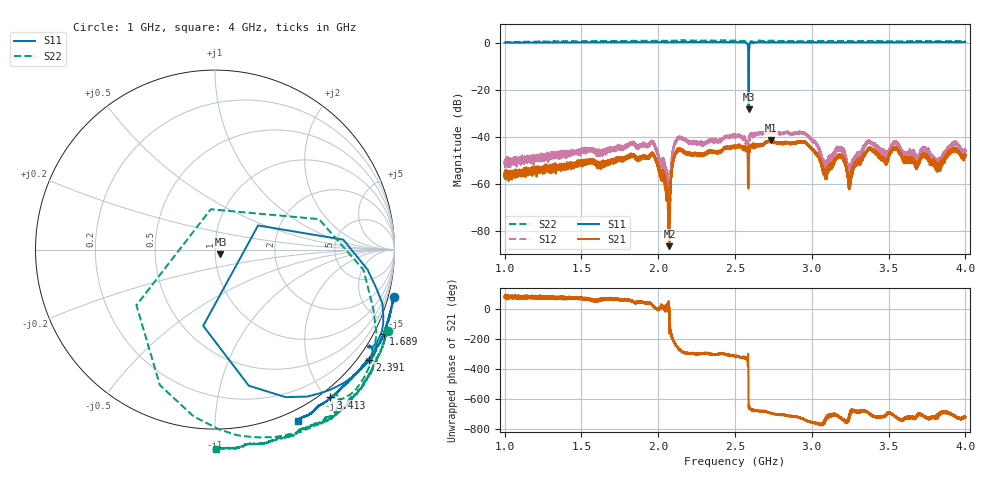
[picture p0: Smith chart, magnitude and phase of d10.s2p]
!Agilent Technologies,N5230C,SG49000117,A.08.50.07
!Agilent N5230C: A.08.50.07
!Date: Monday, May 20, 2024 21:07:27
!Correction: S11(Full 2 Port(1,2))
!S21(Full 2 Port(1,2))
!S12(Full 2 Port(1,2))
!S22(Full 2 Port(1,2))
!S2P File: Measurements: S11, S21, S12, S22:
# Hz S  MA  R 50
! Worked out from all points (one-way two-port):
!   20001 points, 1 GHz to 4 GHz, reference 50 ohm
!   highest |S21| = -41.46 dB at 2.734 GHz (marker M1); lowest = -86.5 dB at 2.073 GHz (marker M2)
!   lowest |S11| = -28.2 dB at 2.588 GHz (marker M3), VSWR 1.08, Z = 53 - j2.63 ohm
!   |S11| at or under -10 dB: 2.587652 GHz to 2.589376 GHz (1.723 MHz wide, 0.0666 % of centre)
!   |S22| runs from -13.4 to 1.2 dB; largest |S21 - S12| = 0.0077
!   S11 on the Smith chart (normalised r, x): 1 GHz: -0.85, -7.52; 1.689 GHz: -0.47, -4.18; 2.391 GHz: -0.29, -3.10; 3.413 GHz: -0.11, -2.04; 4 GHz: -0.10, -1.59
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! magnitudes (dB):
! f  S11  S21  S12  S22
! 1 GHz  0.3  -56.0  -50.5  0.5
! 1.5 GHz  0.4  -50.6  -46.7  0.8
! 1.689 GHz  0.4  -50.6  -45.4  1.0
! 1.96 GHz  0.4  -47.5  -41.9  1.0
! 2 GHz  0.4  -51.6  -47.5  1.0
! 2.073 GHz  0.4  -86.5  -61.5  1.1
! 2.099 GHz  0.4  -49.7  -45.3  1.1
! 2.128 GHz  0.5  -45.3  -41.1  1.1
! 2.391 GHz  0.5  -46.7  -41.9  1.1
! 2.5 GHz  0.4  -44.1  -39.3  1.1
! 2.588 GHz  -28.2  -46.7  -46.4  -11.5
! 2.734 GHz  0.4  -41.5  -37.5  1.0
! 3 GHz  0.4  -45.1  -40.7  0.9
! 3.086 GHz  0.4  -56.0  -53.1  1.0
! 3.195 GHz  0.4  -48.5  -46.2  0.9
! 3.245 GHz  0.4  -56.8  -54.5  0.9
! 3.413 GHz  0.4  -46.4  -43.5  0.9
! 3.5 GHz  0.4  -48.1  -46.4  0.8
! 3.738 GHz  0.5  -47.3  -44.7  0.9
! 3.821 GHz  0.5  -53.0  -50.9  0.9
! 3.927 GHz  0.5  -45.7  -42.5  0.9
! 4 GHz  0.5  -47.7  -45.7  0.9
